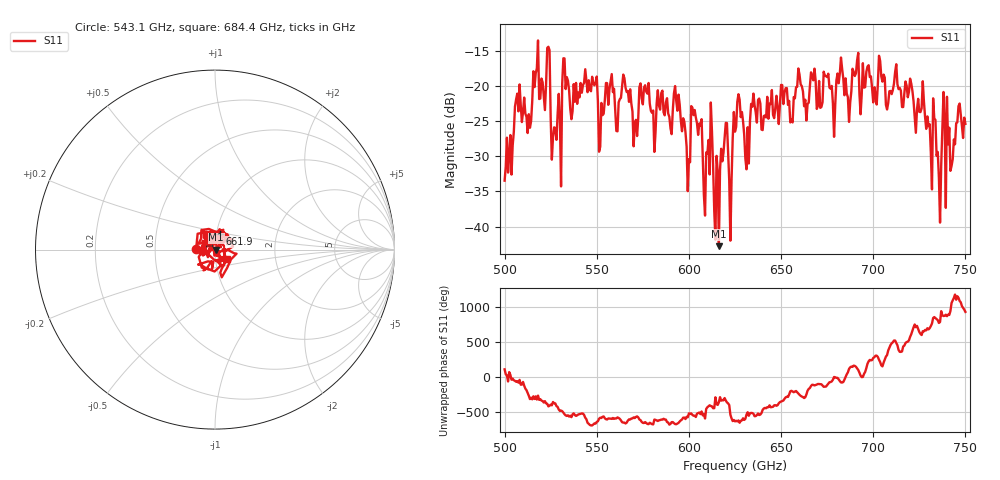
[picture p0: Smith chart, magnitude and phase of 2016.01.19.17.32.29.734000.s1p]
!Created with skrf (http://scikit-rf.org).
# GHz S RI R 50.0
!freq ReS11 ImS11
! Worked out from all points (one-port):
!   401 points, 500 GHz to 750 GHz, reference 50 ohm
!   lowest |S11| = -42.8 dB at 616.2 GHz (marker M1), VSWR 1.01, Z = 50.7 - j0.0142 ohm
!   |S11| at or under -10 dB: start of sweep to end of sweep
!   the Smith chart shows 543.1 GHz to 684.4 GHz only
!   S11 on the Smith chart (normalised r, x): 543.1 GHz: 0.81, +0.01; 661.9 GHz: 1.04, +0.18; 684.4 GHz: 1.14, -0.12
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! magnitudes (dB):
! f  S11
! 500 GHz  -33.5
! 513.8 GHz  -26.0
! 516.9 GHz  -18.2
! 523.8 GHz  -14.5
! 526.9 GHz  -25.9
! 531.2 GHz  -19.7
! 543.1 GHz  -19.6
! 552.5 GHz  -22.4
! 562.5 GHz  -21.9
! 593.8 GHz  -23.5
! 599.4 GHz  -35.0
! 602.5 GHz  -24.2
! 608.8 GHz  -38.4
! 611.2 GHz  -32.6
! 615 GHz  -30.0
! 616.2 GHz  -42.8
! 620 GHz  -25.3
! 622.5 GHz  -42.0
! 625 GHz  -26.5
! 656.2 GHz  -25.2
! 661.9 GHz  -20.8
! 684.4 GHz  -21.3
! 687.5 GHz  -22.4
! 718.8 GHz  -21.6
! 733.8 GHz  -24.8
! 735.6 GHz  -33.0
! 738.8 GHz  -24.7
! 750 GHz  -25.4
